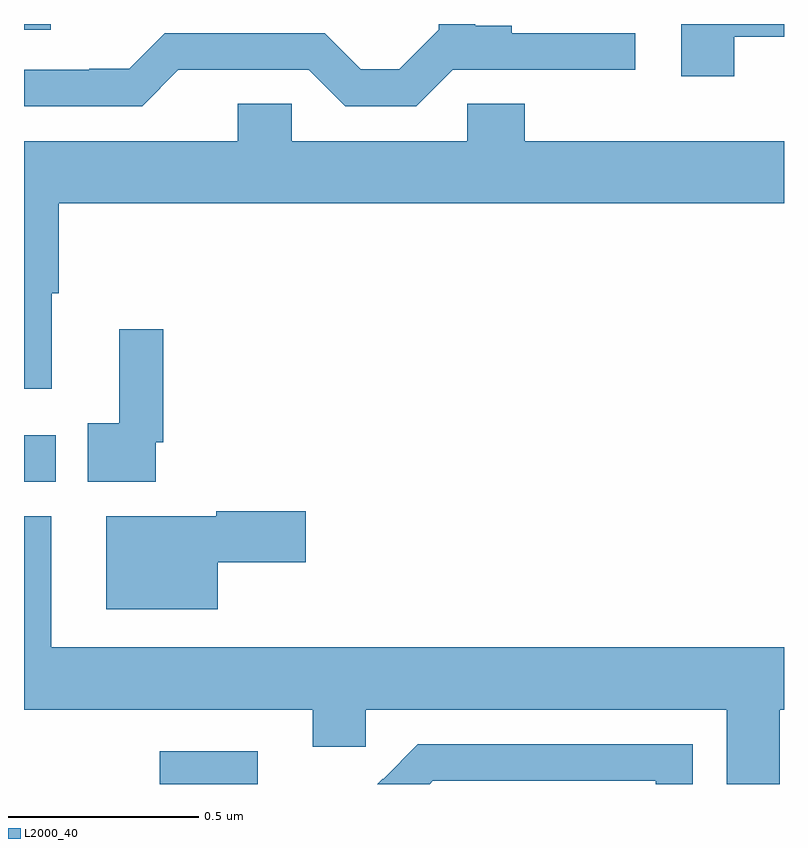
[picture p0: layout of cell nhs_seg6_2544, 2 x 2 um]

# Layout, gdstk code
import gdstk
lib = gdstk.Library(unit=1e-6, precision=1e-09)
def R(c, l, rs):  # rectangles x0, y0, x1, y1
    for r in rs: c.add(gdstk.rectangle(r[:2], r[2:], *l))
def P(c, l, *ps):  # polygons
    for p in ps: c.add(gdstk.Polygon(p, *l))
L2000_40 = (2000, 40)

nhs_seg6_2544 = lib.new_cell('nhs_seg6_2544')
R(nhs_seg6_2544, L2000_40, [(145.357,920.5,145.615,920.586), (145,921.296,145.083,921.418), (145,922.485,145.071,922.5)])
P(nhs_seg6_2544, L2000_40, [(145.406,922.379),(145.51,922.379),(145.51,922.38),(145.749,922.38),(145.845,922.284),(146.032,922.284),(146.128,922.38),(146.361,922.38),(146.361,922.379),(146.608,922.379),(146.608,922.476),(146.284,922.476),(146.284,922.496),(146.188,922.496),(146.188,922.5),(146.091,922.5),(146.091,922.485),(145.987,922.381),(145.886,922.381),(145.791,922.476),(145.371,922.476),(145.277,922.382),(145.172,922.382),(145.172,922.38),(145,922.38),(145,922.284),(145.311,922.284)],
  [(146.869,922.467),(147,922.467),(147,922.5),(146.729,922.5),(146.729,922.362),(146.869,922.362)],
  [(145.073,921.792),(145.091,921.792),(145.091,922.028),(147,922.028),(147,922.192),(146.318,922.192),(146.318,922.29),(146.166,922.29),(146.166,922.192),(145.704,922.192),(145.704,922.29),(145.562,922.29),(145.562,922.192),(145,922.192),(145,921.54),(145.073,921.54)],
  [(145.347,921.4),(145.367,921.4),(145.367,921.697),(145.25,921.697),(145.25,921.449),(145.168,921.449),(145.168,921.296),(145.347,921.296)],
  [(145.51,921.083),(145.741,921.083),(145.741,921.218),(145.506,921.218),(145.506,921.205),(145.217,921.205),(145.217,920.96),(145.51,920.96)],
  [(146.989,920.696),(147,920.696),(147,920.86),(145.072,920.86),(145.072,921.205),(145,921.205),(145,920.696),(145.76,920.696),(145.76,920.598),(145.899,920.598),(145.899,920.696),(146.849,920.696),(146.849,920.5),(146.989,920.5)],
  [(146.076,920.508),(146.663,920.508),(146.663,920.5),(146.76,920.5),(146.76,920.604),(146.036,920.604),(145.945,920.513),(145.944,920.514),(145.93,920.5),(146.068,920.5)])

lib.write_gds('nhs_seg6_2544.gds')
